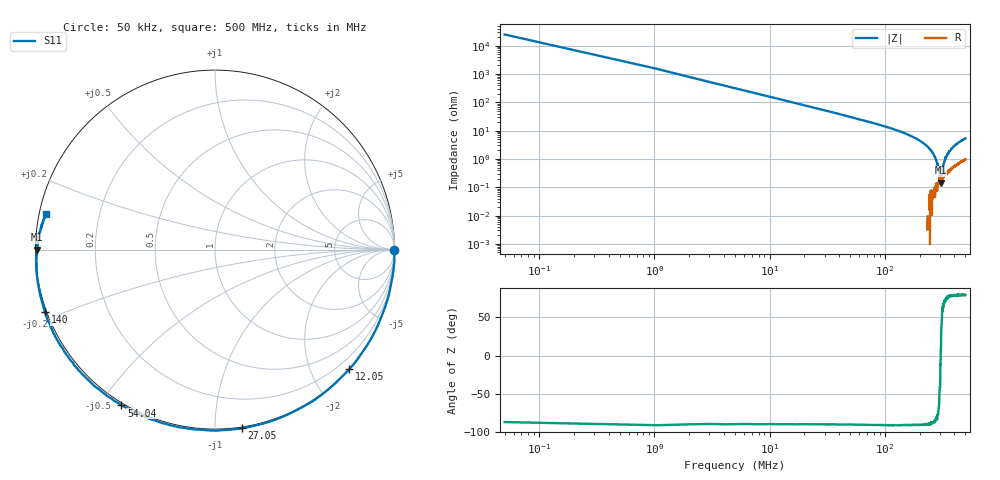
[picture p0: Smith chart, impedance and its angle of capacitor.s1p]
# MHz S MA R 50
!  freq  S11
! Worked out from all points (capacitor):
!   501 points, 50 kHz to 500 MHz, reference 50 ohm
!   read as one part to ground: C = 101 pF near 2.05 MHz
!   lowest |Z| = 144 mohm at 304 MHz (marker M1)
!   series resonance near 304.7 MHz, so ESL is about 2.7 nH
!   S11 on the Smith chart (normalised r, x): 50 kHz: open; 12.05 MHz: -0.01, -2.62; 27.05 MHz: -0.01, -1.16; 54.04 MHz: -0.01, -0.57; 140 MHz: -0.00, -0.18; 500 MHz: 0.02, +0.10
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0.05  0.9998 -0.2
2.0498  1.001 -7.5
6.0494  0.9998 -21.6
9.0491  1.001 -31.9
12.0488  1.003 -41.7
15.0485  1.003 -51.0
19.0481  1.003 -62.3
23.0477  1.006 -72.4
27.0473  1.006 -81.4
30.047  1.006 -87.6
34.0466  1.007 -94.9
40.046  1.01 -104.4
47.0453  1.01 -113.4
54.0446  1.013 -121.0
63.0437  1.012 -128.7
73.0427  1.013 -135.6
88.0412  1.013 -143.6
106.0394  1.013 -150.6
125.0375  1.011 -156.3
140.036  1.009 -159.8
163.0337  1.005 -164.3
188.0312  1.004 -168.1
250.025  1 -175.3
304.0196  0.9944 -179.9
313.0187  0.9919 179.4
375.0125  0.9825 175.1
438.0062  0.9719 171.4
500  0.962 168.0
